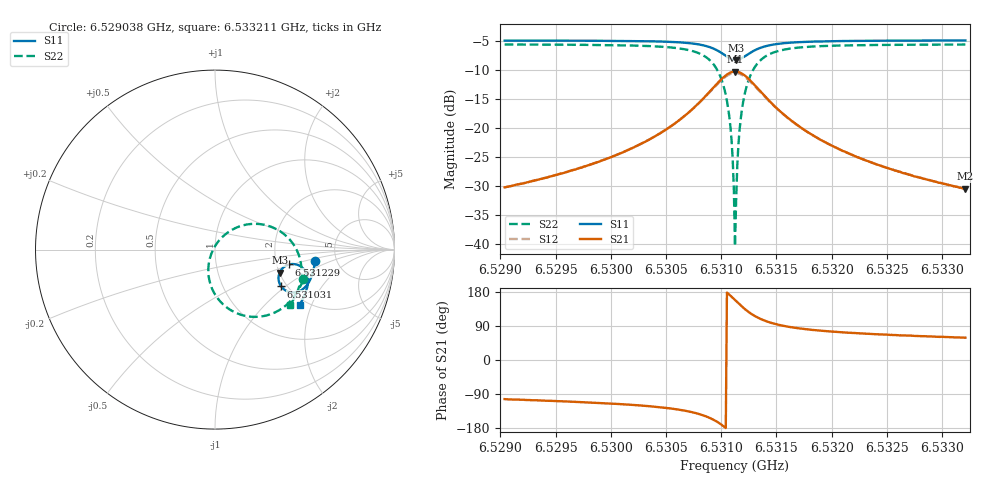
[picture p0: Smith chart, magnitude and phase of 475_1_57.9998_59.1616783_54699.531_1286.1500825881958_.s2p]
#  HZ  S  RI  R  50.00
! Rohde & Schwarz Vector Network Analyzer
! Rohde-Schwarz,ZNB20-2Port,1311601062101988,3.16
! Created: UTC 3/21/2024, 1:11:37 AM
! freq[Hz]  re:S11  im:S11  re:S21  im:S21  re:S12  im:S12  re:S22  im:S22
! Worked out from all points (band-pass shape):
!   401 points, 6.529038 GHz to 6.533211 GHz, reference 50 ohm
!   highest |S21| = -10.32 dB at 6.531124 GHz (marker M1); lowest = -30.5 dB at 6.533211 GHz (marker M2)
!   |S21| within 3 dB of the highest: 6.530917 GHz to 6.531334 GHz (416.6 kHz wide, 0.00638 % of centre)
!   lowest |S11| = -8.4 dB at 6.531135 GHz (marker M3), VSWR 2.24, Z = 100 - j30.1 ohm
!   |S11| at or under -10 dB: nowhere
!   |S22| runs from -40.3 to -5.7 dB; largest |S21 - S12| = 0.012
!   S11 on the Smith chart (normalised r, x): 6.529038 GHz: 3.43, -0.63; 6.531031 GHz: 1.87, -0.93; 6.531229 GHz: 2.34, -0.47; 6.533211 GHz: 1.82, -1.64
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6.529038e9  0.5574 -0.0626  -0.00706 -0.0301  -0.00779 -0.0299  0.4924 -0.1663
6.5297369e9  0.5467 -0.1205  -0.0165 -0.0426  -0.0176 -0.0424  0.4617 -0.2311
6.5304359e9  0.5181 -0.1893  -0.0501 -0.0731  -0.0521 -0.0719  0.3808 -0.3221
6.5306758e9  0.4912 -0.219  -0.0894 -0.0923  -0.0921 -0.0894  0.3009 -0.3628
6.5308532e9  0.4476 -0.2381  -0.157 -0.0987  -0.1592 -0.0925  0.1755 -0.3706
6.5309575e9  0.4033 -0.2327  -0.226 -0.0725  -0.2251 -0.0634  0.0581 -0.3164
6.5310305e9  0.3689 -0.2053  -0.2766 -0.0146  -0.2712 -0.00475  -0.0193 -0.2106
6.5310722e9  0.3562 -0.1776  -0.2927 0.0381  -0.2839 0.0459  -0.0374 -0.1205
6.5310931e9  0.3538 -0.1614  -0.2932 0.068  -0.2834 0.0743  -0.0336 -0.0711
6.5311035e9  0.3542 -0.153  -0.2914 0.0831  -0.2811 0.0886  -0.028 -0.0463
6.531114e9  0.3553 -0.1445  -0.288 0.0982  -0.2774 0.1027  -0.02 -0.0221
6.5311244e9  0.3573 -0.1363  -0.283 0.113  -0.2722 0.1165  -0.00955 0.00143
6.5311348e9  0.3602 -0.1282  -0.2766 0.1272  -0.266 0.1299  0.00318 0.0239
6.5311453e9  0.3639 -0.1206  -0.269 0.1407  -0.2583 0.1422  0.018 0.0447
6.5311557e9  0.3685 -0.1135  -0.26 0.1533  -0.2496 0.1539  0.0346 0.064
6.5311766e9  0.3794 -0.1011  -0.239 0.1749  -0.2296 0.174  0.0723 0.0962
6.5312287e9  0.4125 -0.0829  -0.1788 0.2069  -0.1723 0.2037  0.1768 0.1397
6.5313017e9  0.4552 -0.0835  -0.1035 0.2088  -0.1004 0.2057  0.3036 0.1302
6.5314061e9  0.4923 -0.1062  -0.0392 0.1777  -0.0378 0.176  0.4092 0.0637
6.5318234e9  0.5174 -0.1861  0.0159 0.0854  0.017 0.0853  0.4822 -0.1284
6.5325223e9  0.4978 -0.2572  0.0179 0.041  0.0187 0.0408  0.4541 -0.2453
6.5332108e9  0.4709 -0.3084  0.0155 0.0257  0.0161 0.0256  0.4192 -0.3063
